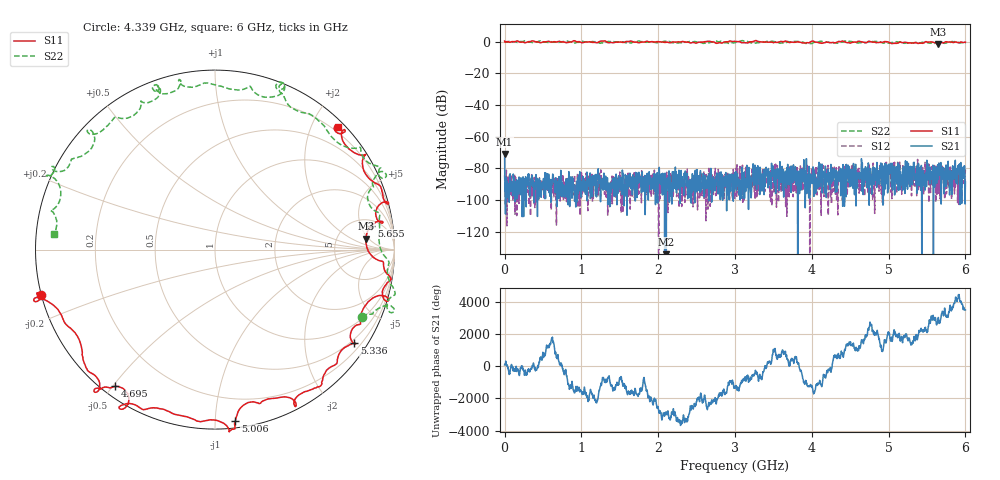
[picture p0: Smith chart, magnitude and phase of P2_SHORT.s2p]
# Hz S RI R 50
! RAW DATA - UNCALIBRATED
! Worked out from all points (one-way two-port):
!   1601 points, 30 kHz to 6 GHz, reference 50 ohm
!   highest |S21| = -70.94 dB at 30 kHz (marker M1); lowest = -184.0 dB at 2.104 GHz (marker M2)
!   lowest |S11| = -1.5 dB at 5.64 GHz (marker M3), VSWR 11.66, Z = 497 + j206 ohm
!   |S11| at or under -10 dB: nowhere
!   |S22| runs from -1.2 to 0.7 dB; largest |S21 - S12| = 0.00023
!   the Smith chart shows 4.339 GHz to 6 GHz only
!   S11 on the Smith chart (normalised r, x): 4.339 GHz: -0.00, -0.13; 4.695 GHz: 0.04, -0.51; 5.006 GHz: 0.05, -1.12; 5.336 GHz: 0.39, -3.24; 5.655 GHz: 6, +8; 6 GHz: 0.12, +2.42
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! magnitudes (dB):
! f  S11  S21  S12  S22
! 30 kHz  0.4  -70.9  -84.3  -0.3
! 33.78 MHz  0.1  -98.7  -90.8  -0.2
! 1.001 GHz  -0.6  -90.8  -82.9  0.3
! 2.003 GHz  0.1  -84.8  -99.7  -0.4
! 2.104 GHz  -0.3  -184.0  -85.4  0.3
! 2.771 GHz  -0.9  -91.2  -86.8  0.2
! 3 GHz  0.2  -87.0  -90.1  -0.6
! 3.094 GHz  -0.6  -81.7  -83.5  0.7
! 3.236 GHz  0.1  -77.1  -90.4  -0.8
! 3.454 GHz  -0.2  -84.3  -98.2  0.2
! 4.001 GHz  0.3  -86.8  -83.3  -1.1
! 4.125 GHz  -1.0  -81.5  -86.9  0.3
! 4.339 GHz  0.0  -88.2  -109.4  -0.9
! 4.451 GHz  -0.5  -82.0  -77.5  0.2
! 4.695 GHz  -0.5  -85.3  -89.2  -0.5
! 5.003 GHz  -0.3  -77.4  -83.1  -0.9
! 5.006 GHz  -0.3  -82.1  -82.1  -0.9
! 5.336 GHz  -0.6  -87.0  -91.2  -0.8
! 5.64 GHz  -1.5  -77.7  -86.8  -0.8
! 5.655 GHz  -1.1  -76.6  -94.5  -0.8
! 5.858 GHz  -0.3  -84.7  -96.1  0.0
! 6 GHz  -0.3  -88.5  -80.8  -0.9
